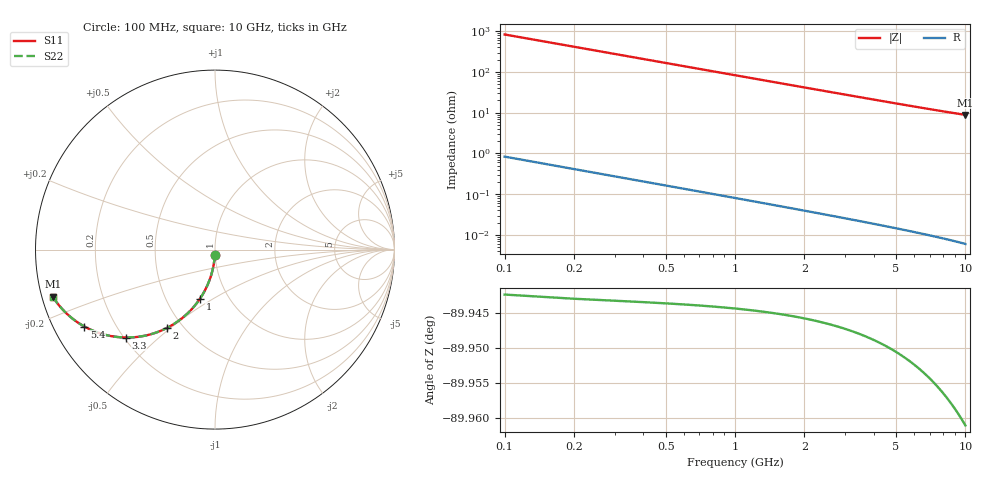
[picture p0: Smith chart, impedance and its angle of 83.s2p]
# Hz S RI R 50.00
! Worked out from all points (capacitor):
!   100 points, 100 MHz to 10 GHz, reference 50 ohm
!   read as one part in shunt: C = 1.91 pF near 100 MHz
!   lowest |Z| = 8.85 ohm at 10 GHz (marker M1)
!   S11 on the Smith chart (normalised r, x): 100 MHz: 1.00, -0.06; 1 GHz: 0.74, -0.44; 2 GHz: 0.41, -0.49; 3.3 GHz: 0.21, -0.39; 5.4 GHz: 0.09, -0.27; 10 GHz: 0.03, -0.14
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1e8  -0.000829 -0.0297  0.999 -0.0303  0.999 -0.0303  -0.000829 -0.0297
2e8  -0.00355 -0.0593  0.9962 -0.0604  0.9962 -0.0604  -0.00355 -0.0593
3e8  -0.00804 -0.0885  0.9918 -0.0902  0.9918 -0.0902  -0.00804 -0.0885
4e8  -0.0142 -0.1173  0.9855 -0.1196  0.9855 -0.1196  -0.0142 -0.1173
5e8  -0.0221 -0.1454  0.9777 -0.1483  0.9777 -0.1483  -0.0221 -0.1454
6e8  -0.0315 -0.1728  0.9683 -0.1762  0.9683 -0.1762  -0.0315 -0.1728
7e8  -0.0424 -0.1993  0.9574 -0.2033  0.9574 -0.2033  -0.0424 -0.1993
8e8  -0.0547 -0.2248  0.9451 -0.2294  0.9451 -0.2294  -0.0547 -0.2248
1e9  -0.0829 -0.2725  0.9169 -0.2783  0.9169 -0.2783  -0.0829 -0.2725
1.2e9  -0.1152 -0.3154  0.8846 -0.3224  0.8846 -0.3224  -0.1152 -0.3154
1.4e9  -0.1505 -0.3531  0.8492 -0.3613  0.8492 -0.3613  -0.1505 -0.3531
1.8e9  -0.2266 -0.413  0.7731 -0.4234  0.7731 -0.4234  -0.2266 -0.413
2e9  -0.2657 -0.4354  0.734 -0.4471  0.734 -0.4471  -0.2657 -0.4354
2.6e9  -0.3797 -0.4773  0.62 -0.4924  0.62 -0.4924  -0.3797 -0.4773
3.3e9  -0.4969 -0.4898  0.5027 -0.5091  0.5027 -0.5091  -0.4969 -0.4898
3.4e9  -0.5119 -0.4894  0.4877 -0.5093  0.4877 -0.5093  -0.5119 -0.4894
4.2e9  -0.616 -0.4734  0.3834 -0.4981  0.3834 -0.4981  -0.616 -0.4734
5.1e9  -0.7037 -0.4409  0.2956 -0.471  0.2956 -0.471  -0.7037 -0.4409
5.4e9  -0.7272 -0.4287  0.272 -0.4606  0.272 -0.4606  -0.7272 -0.4287
6.7e9  -0.8052 -0.3752  0.1938 -0.4151  0.1938 -0.4151  -0.8052 -0.3752
8.4e9  -0.8678 -0.3119  0.1306 -0.3626  0.1306 -0.3626  -0.8678 -0.3119
1e10  -0.904 -0.2621  0.0939 -0.3232  0.0939 -0.3232  -0.904 -0.2621
